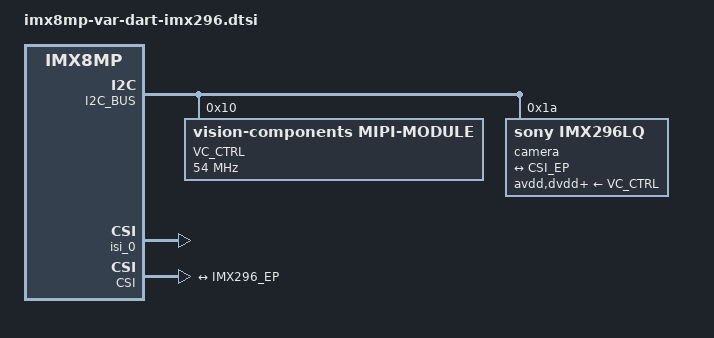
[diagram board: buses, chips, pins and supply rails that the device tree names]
// SPDX-License-Identifier: GPL-2.0-or-later OR MIT
/*
 * Copyright 2023 Ideas on Board Oy
 */

&I2C_BUS {
	VC_CTRL: controller@10 {
		compatible = "vision-components,mipi-module";
		reg = <0x10>;
		#clock-cells = <0>;
		clock-frequency = <54000000>;
	};

	camera@1a {
		compatible = "sony,imx296lq";
		reg = <0x1a>;

		clocks = <&VC_CTRL>;
		clock-names = "inck";

		avdd-supply = <&VC_CTRL>;
		dvdd-supply = <&VC_CTRL>;
		ovdd-supply = <&VC_CTRL>;

		orientation = <0>;	/* Front */
		rotation = <0>;

		port {
			IMX296_EP: endpoint {
				data-lanes = <1>;
				remote-endpoint = <&CSI_EP>;
			};
		};
	};
};

&isi_0 {
	status = "okay";
};

&CSI {
	status = "okay";

	ports {
		port@0 {
			CSI_EP: endpoint {
				remote-endpoint = <&IMX296_EP>;
				data-lanes = <1>;
			};
		};
	};
};
